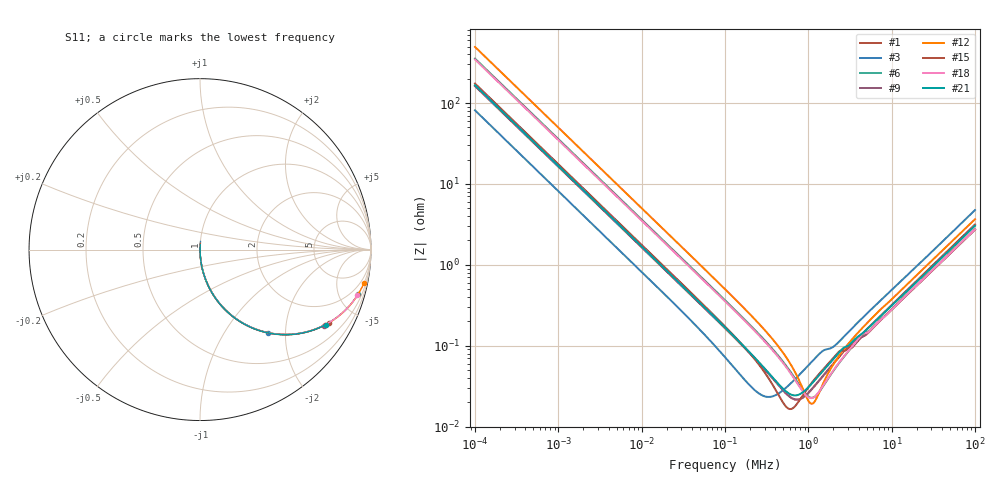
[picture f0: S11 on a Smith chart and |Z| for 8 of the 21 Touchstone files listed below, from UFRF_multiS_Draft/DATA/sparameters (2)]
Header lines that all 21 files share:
!These Parameters are Measured in Series Mode Connection
!  o--ll--o
!Port1  Port2
!  o------o
!Operation Temp=25[degC], DC Bias Voltage=0[V]
!Freq. Start=100[Hz] Stop=100[MHz], 401[Steps]
# Hz S RI R 50
!Freq.(Hz) S11(Real) S11(Imag) S21(Real) S21(Imag) S12(Real) S12(Imag) S22(Real) S22(Imag)
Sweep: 100 Hz to 100 MHz
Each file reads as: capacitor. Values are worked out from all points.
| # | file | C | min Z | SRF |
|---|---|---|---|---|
| 1 | RCEC71H106K3A2H03B_DC0V_25degC_series.s2p | 9.68 uF | 21.5 mohm | 734.9 kHz |
| 2 | RCEC71H106K3K1H03B_DC0V_25degC_series.s2p | 9.68 uF | 29.4 mohm | 670.2 kHz |
| 3 | RCEC71H226MWK1H03B_DC0V_25degC_series.s2p | 19.6 uF | 23.2 mohm | 349.7 kHz |
| 4 | RCEC71H475K2A2H03B_DC0V_25degC_series.s2p | 4.43 uF | 22.7 mohm | 1.095 MHz |
| 5 | RCEC71H475K2K1H03B_DC0V_25degC_series.s2p | 4.43 uF | 31.1 mohm | 981 kHz |
| 6 | RCEC72A475K3A3H03B_DC0V_25degC_series.s2p | 4.48 uF | 22.7 mohm | 1.098 MHz |
| 7 | RCEC72A475K3K1H03B_DC0V_25degC_series.s2p | 4.48 uF | 30.6 mohm | 1.001 MHz |
| 8 | RCEC72A475MWK1H03B_DC0V_25degC_series.s2p | 4.18 uF | 18.7 mohm | 959 kHz |
| 9 | RCER71E106K3A2H03B_DC0V_25degC_series.s2p | 9.83 uF | 21.6 mohm | 729.7 kHz |
| 10 | RCER71E106K3K1H03B_DC0V_25degC_series.s2p | 9.83 uF | 29.5 mohm | 665.8 kHz |
| 11 | RCER71E226MWK1H03B_DC0V_25degC_series.s2p | 19 uF | 14.9 mohm | 414.3 kHz |
| 12 | RCER71E335K2M1H03A_DC0V_25degC_series.s2p | 3.21 uF | 19.1 mohm | 1.106 MHz |
| 13 | RCER71E475K2A2H03B_DC0V_25degC_series.s2p | 4.53 uF | 22.7 mohm | 1.09 MHz |
| 14 | RCER71E475K2K1H03B_DC0V_25degC_series.s2p | 4.53 uF | 31.2 mohm | 975.6 kHz |
| 15 | RCER71H106MWK1H03B_DC0V_25degC_series.s2p | 9.11 uF | 16.4 mohm | 632.2 kHz |
| 16 | RCER71H335K3A2H03B_DC0V_25degC_series.s2p | 3.12 uF | 16.9 mohm | 1.187 MHz |
| 17 | RCER71H335K3K1H03B_DC0V_25degC_series.s2p | 3.16 uF | 25.8 mohm | 1.063 MHz |
| 18 | RCER71H475K3A2H03B_DC0V_25degC_series.s2p | 4.6 uF | 22.5 mohm | 1.079 MHz |
| 19 | RCER71H475K3K1H03B_DC0V_25degC_series.s2p | 4.6 uF | 30.4 mohm | 983.3 kHz |
| 20 | RDEC71E106K2K1H03B_DC0V_25degC_series.s2p | 9.54 uF | 30.1 mohm | 661.5 kHz |
| 21 | RDEC71E106K2P1H03B_DC0V_25degC_series.s2p | 9.54 uF | 24.3 mohm | 696 kHz |
